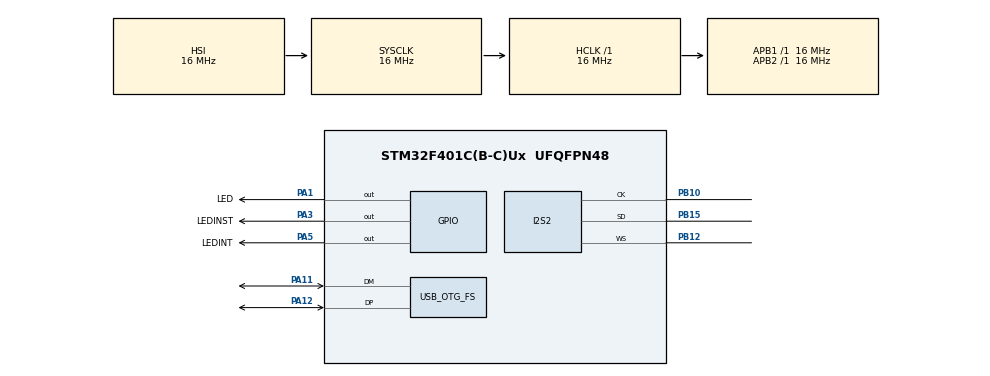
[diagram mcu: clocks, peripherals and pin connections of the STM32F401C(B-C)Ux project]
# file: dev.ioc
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I2S2.AudioFreq=I2S_AUDIOFREQ_16K
I2S2.DataFormat=I2S_DATAFORMAT_24B
I2S2.ErrorAudioFreq=-0.35 %
I2S2.FullDuplexMode=I2S_FULLDUPLEXMODE_DISABLE
I2S2.Instance=SPI$Index
I2S2.Mode=I2S_MODE_MASTER_RX
I2S2.RealAudioFreq=15.943 KHz
I2S2.VirtualMode=I2S_MODE_MASTER
Mcu.Family=STM32F4
Mcu.Name=STM32F401C(B-C)Ux
Mcu.Package=UFQFPN48
NVIC.OTG_FS_IRQn=true\:0\:0\:false\:false\:true\:false\:true\:true
NVIC.PriorityGroup=NVIC_PRIORITYGROUP_4
PA1.GPIO_Label=LED
PA1.Signal=GPIO_Output
PA11.Mode=Device_Only
PA11.Signal=USB_OTG_FS_DM
PA12.Mode=Device_Only
PA12.Signal=USB_OTG_FS_DP
PA3.GPIO_Label=LEDINST
PA3.Signal=GPIO_Output
PA5.GPIO_Label=LEDINT
PA5.Signal=GPIO_Output
PB10.Mode=Half_Duplex_Master
PB10.Signal=I2S2_CK
PB12.Mode=Half_Duplex_Master
PB12.Signal=I2S2_WS
PB15.Mode=Half_Duplex_Master
PB15.Signal=I2S2_SD
PH0\ -\ OSC_IN.Mode=HSE-External-Oscillator
PH0\ -\ OSC_IN.Signal=RCC_OSC_IN
PH1\ -\ OSC_OUT.Mode=HSE-External-Oscillator
PH1\ -\ OSC_OUT.Signal=RCC_OSC_OUT
ProjectManager.HeapSize=0x200
ProjectManager.StackSize=0x400
ProjectManager.TargetToolchain=STM32CubeIDE
RCC.48MHZClocksFreq_Value=48000000
RCC.AHBFreq_Value=16000000
RCC.APB1Freq_Value=16000000
RCC.APB2Freq_Value=16000000
RCC.CortexFreq_Value=16000000
RCC.HSE_VALUE=25000000
RCC.HSI_VALUE=16000000
RCC.LSE_VALUE=32768
RCC.PLLI2SN=60
RCC.PLLM=15
RCC.PLLN=144
RCC.PLLQ=5
RCC.SYSCLKFreq_VALUE=16000000
RCC.VCOOutputFreq_Value=240000000
USB_DEVICE.CLASS_NAME_FS=CDC
USB_DEVICE.VirtualMode=Cdc
USB_DEVICE.VirtualModeFS=Cdc_FS
USB_OTG_FS.VirtualMode=Device_Only
VP_USB_DEVICE_VS_USB_DEVICE_CDC_FS.Mode=CDC_FS
board=custom

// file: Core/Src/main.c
/* USER CODE BEGIN Header */
/**
  ******************************************************************************
  * @file           : main.c
  * @brief          : Main program body
  ******************************************************************************
  * @attention
  *
  * Copyright (c) 2022 STMicroelectronics.
  * All rights reserved.
  *
  * This software is licensed under terms that can be found in the LICENSE file
  * in the root directory of this software component.
  * If no LICENSE file comes with this software, it is provided AS-IS.
  *
  ******************************************************************************
  */
/* USER CODE END Header */
#define __FPU_PRESENT             1U
#define ARM_MATH_CM4
#include "arm_math.h"
#include "main.h"
#include "usb_device.h"

/* USER CODE BEGIN Includes */
#include "usbd_cdc_if.h"
#include "string.h"
#include <math.h>
//#include "arm_math.h"
/* USER CODE END Includes */

/* USER CODE BEGIN PD */
#define interval 0.5 //the time interval per sample
//#define ARM_MATH_CM4
/* USER CODE END PD */

I2S_HandleTypeDef hi2s2;

void SystemClock_Config(void);
static void MX_GPIO_Init(void);
static void MX_I2S2_Init(void);
/* USER CODE BEGIN PFP */
void toStr(uint16_t d, char* str);
void getStr(int32_t d, char* str);
double dailyDose(int32_t p);
/* USER CODE END PFP */

/* USER CODE BEGIN 0 */
uint8_t buffer[64];
uint8_t *data;
/*
	  HAL_GPIO_TogglePin (GPIOA, LED_Pin);
	  while(count){
		  volatile HAL_StatusTypeDef result = HAL_I2S_Receive(&hi2s2, data_in, 2, 100);
		  if (result == HAL_OK) {
			  if(data_in[1]==0||data_in[0]>=16384) continue;
			  current = data_in[0]+(data_in[1]>>7);
			  samples[--count] = current;
		  }
	  }
	  for (int i=0; i<n; i++){
		  davg += samples[i]/n; //average
	  }
	  avg = (int32_t) davg;
	  for (int i=0; i<n; i++){
		  samples[i] -= avg;
		  if(min>samples[i]) min = samples[i];
		  if(max<samples[i]) max = samples[i];
	  }
	  count = n;
	  peak = max-min;
	  max = 0;
	  min = 100000;
	  getStr(peak, s); //2072.43028737 -- 90 dB right shifted by 7
	  davg = 0;
	  data = s;
	  CDC_Transmit_FS(data, strlen(data));
	  HAL_Delay(500);
*/
/* USER CODE END 0 */

int main(void)
{

  /* MCU Configuration--------------------------------------------------------*/

  /* Reset of all peripherals, Initializes the Flash interface and the Systick. */
  HAL_Init();

  /* Configure the system clock */
  SystemClock_Config();

  /* Initialize all configured peripherals */
  MX_GPIO_Init();
  MX_I2S2_Init();
  MX_USB_DEVICE_Init();
  /* USER CODE BEGIN 2 */
  uint16_t data_in[2];
  uint16_t n = 256; //number of samples, keep at power of 2 for FFT
  int32_t current;
  uint16_t count = n;
  int32_t avg = 0; //running average of the sampled data
//  int32_t min_avg = -1; //keeps track of the lowest average so far -- DC offset
  uint8_t s[7]; //store string output
  s[6] = '\0'; //null character to terminate the string -- this should remove any weird artifacts
  float davg=0;
  double dd = 0; //keep track of daily dose
  int reached = 16; //simple counter
  int dd_reached = 0; //keep track of if we've reached dd threshold
  int duration = 0;
  int32_t max_peak;
  int32_t decibel;
  int32_t max = 0;
  int32_t min = 100000;
  int32_t peak = 0;
  int32_t samples[n];

  //arm code below from https://stm32f4-discovery.net/2014/10/stm32f4-fft-example/
//  arm_cfft_radix4_instance_f32 S;	/* ARM CFFT module */
//  float32_t maxValue;				/* Max FFT value is stored here */
//  uint32_t maxIndex;				/* Index in Output array where max value is */
//  float32_t fft_output[n];
//  float32_t fft_input[2*n];
  /* USER CODE END 2 */
  /* Infinite loop */
  /* USER CODE BEGIN WHILE */
  while (1)
  {
	  while(count){
		  volatile HAL_StatusTypeDef result = HAL_I2S_Receive(&hi2s2, data_in, 2, 100);
		  if (result == HAL_OK) {
			  if(data_in[1]==0||data_in[0]>=32768) continue; //need this otherwise data is way too noisy
			  //trying without any checks for zeros or potential negatives
			  current = data_in[0];
			  samples[--count] = current;
		  }
	  }
	  for (int i=0; i<n; i++){
		  davg += samples[i]/n; //average
	  }
	  avg = (int32_t) davg;
	  for (int i=0; i<n; i++){
		  samples[i] -= avg;
		  if(min>samples[i]) min = samples[i];
		  if(max<samples[i]) max = samples[i];
	  }
	  count = n;
	  peak = max-min;
	  max = 0;
	  min = 100000;
	  davg = 0;
	  data = s;
	  dd += dailyDose(peak);
	  if(peak>2072){
		  HAL_GPIO_WritePin(GPIOA, LEDINST_Pin, GPIO_PIN_SET); //If over given value, means >90 dB, set warning
		  duration = 8; //adding minimum duration of 8 cycles
	  }
	  else if(duration<=0) HAL_GPIO_WritePin(GPIOA, LEDINST_Pin, GPIO_PIN_RESET); //duration over -- "loud" noise not detected any longer
	  else duration--; //duration not over but not updated -- decrease duration

	  if(dd>=1&&dd_reached==0){
		  HAL_GPIO_TogglePin(GPIOA, LEDINT_Pin); //If we've reached daily dose
		  dd_reached = 1; //Making sure we don't keep toggling pin
	  }
	  if(peak>max_peak) max_peak = peak;
	  reached--;
	  if(!reached){
//		  for(int i=0; i<2*n; i+=2){ //this code from same arm source as above
//			  fft_input[i] = samples[i]; //real
//			  fft_input[i+1] = 0; //imaginary
//		  }
//		  arm_cfft_radix4_init_f32(&S, n, 0, 1);
//	      arm_cfft_radix4_f32(&S, fft_input);
//	      arm_cmplx_mag_f32(fft_input, fft_output, n);
////	      arm_max_f32(fft_output, n, &maxValue, &maxIndex); //this code computes fft and computes the maximum index and maximum value
//	      maxIndex = 0;
//	      maxValue = fft_output[0];
//	      for(int i=1; i<n; i++){
//	    	  if(fft_output[i]>maxValue){
//	    		  maxValue = fft_output[i];
//	    		  maxIndex = i;
//	    	  }
//	      }

		  HAL_GPIO_TogglePin(GPIOA, LED_Pin);
		  reached = 16;
//		  getStr(max_peak, s); //2072.43028737 -- around 70-80 dB right shifted by 7
//		  CDC_Transmit_FS(data, strlen(data));
		  decibel = (int)(10.0*(log(max_peak/2072.0)/log(2.0)))+70; //if peak is too low, maybe modify it by downshifting more/applying a function to account for noise
		  if(decibel<0) decibel = 0; //negative decibel values both don't make sense and make weird USB outputs
		  getStr(decibel, s);
		  max_peak = 0; //reset max peak
		  data = s;
		  HAL_Delay(50); //allow the USB transfer to reset, code similar to this did weird stuff without it
		  CDC_Transmit_FS(data, strlen(data));
//		  getStr((int32_t) maxIndex, s);
//		  data = s;
//		  HAL_Delay(50); //allow the USB transfer to reset, code similar to this did weird stuff without it
//		  CDC_Transmit_FS(data, strlen(data));
	  }
  }
    /* USER CODE END WHILE */

}

void SystemClock_Config(void)
{
  RCC_OscInitTypeDef RCC_OscInitStruct = {0};
  RCC_ClkInitTypeDef RCC_ClkInitStruct = {0};

  /** Configure the main internal regulator output voltage
  */
  __HAL_RCC_PWR_CLK_ENABLE();
  __HAL_PWR_VOLTAGESCALING_CONFIG(PWR_REGULATOR_VOLTAGE_SCALE2);

  /** Initializes the RCC Oscillators according to the specified parameters
  * in the RCC_OscInitTypeDef structure.
  */
  RCC_OscInitStruct.OscillatorType = RCC_OSCILLATORTYPE_HSI|RCC_OSCILLATORTYPE_HSE;
  RCC_OscInitStruct.HSEState = RCC_HSE_ON;
  RCC_OscInitStruct.HSIState = RCC_HSI_ON;
  RCC_OscInitStruct.HSICalibrationValue = RCC_HSICALIBRATION_DEFAULT;
  RCC_OscInitStruct.PLL.PLLState = RCC_PLL_ON;
  RCC_OscInitStruct.PLL.PLLSource = RCC_PLLSOURCE_HSE;
  RCC_OscInitStruct.PLL.PLLM = 15;
  RCC_OscInitStruct.PLL.PLLN = 144;
  RCC_OscInitStruct.PLL.PLLP = RCC_PLLP_DIV2;
  RCC_OscInitStruct.PLL.PLLQ = 5;
  if (HAL_RCC_OscConfig(&RCC_OscInitStruct) != HAL_OK)
  {
    Error_Handler();
  }

  /** Initializes the CPU, AHB and APB buses clocks
  */
  RCC_ClkInitStruct.ClockType = RCC_CLOCKTYPE_HCLK|RCC_CLOCKTYPE_SYSCLK
                              |RCC_CLOCKTYPE_PCLK1|RCC_CLOCKTYPE_PCLK2;
  RCC_ClkInitStruct.SYSCLKSource = RCC_SYSCLKSOURCE_HSI;
  RCC_ClkInitStruct.AHBCLKDivider = RCC_SYSCLK_DIV1;
  RCC_ClkInitStruct.APB1CLKDivider = RCC_HCLK_DIV1;
  RCC_ClkInitStruct.APB2CLKDivider = RCC_HCLK_DIV1;

  if (HAL_RCC_ClockConfig(&RCC_ClkInitStruct, FLASH_LATENCY_0) != HAL_OK)
  {
    Error_Handler();
  }
}

static void MX_I2S2_Init(void)
{

  hi2s2.Instance = SPI2;
  hi2s2.Init.Mode = I2S_MODE_MASTER_RX;
  hi2s2.Init.Standard = I2S_STANDARD_PHILIPS;
  hi2s2.Init.DataFormat = I2S_DATAFORMAT_24B;
  hi2s2.Init.MCLKOutput = I2S_MCLKOUTPUT_DISABLE;
  hi2s2.Init.AudioFreq = I2S_AUDIOFREQ_16K;
  hi2s2.Init.CPOL = I2S_CPOL_LOW;
  hi2s2.Init.ClockSource = I2S_CLOCK_PLL;
  hi2s2.Init.FullDuplexMode = I2S_FULLDUPLEXMODE_DISABLE;
  if (HAL_I2S_Init(&hi2s2) != HAL_OK)
  {
    Error_Handler();
  }

}

static void MX_GPIO_Init(void)
{
  GPIO_InitTypeDef GPIO_InitStruct = {0};

  /* GPIO Ports Clock Enable */
  __HAL_RCC_GPIOH_CLK_ENABLE();
  __HAL_RCC_GPIOA_CLK_ENABLE();
  __HAL_RCC_GPIOB_CLK_ENABLE();

  /*Configure GPIO pin Output Level */
  HAL_GPIO_WritePin(GPIOA, LED_Pin|LEDINST_Pin|LEDINT_Pin, GPIO_PIN_RESET);

  /*Configure GPIO pins : LED_Pin LEDINST_Pin LEDINT_Pin */
  GPIO_InitStruct.Pin = LED_Pin|LEDINST_Pin|LEDINT_Pin;
  GPIO_InitStruct.Mode = GPIO_MODE_OUTPUT_PP;
  GPIO_InitStruct.Pull = GPIO_NOPULL;
  GPIO_InitStruct.Speed = GPIO_SPEED_FREQ_LOW;
  HAL_GPIO_Init(GPIOA, &GPIO_InitStruct);

}

/* USER CODE BEGIN 4 */
void toStr(uint16_t d, char* str){ //converting int16_t to decimal -- assuming positive, which isn't always true
	str[4]=d%10+'0';
	d/=10;
	str[3]=d%10+'0';
	d/=10;
	str[2]=d%10+'0';
	d/=10;
	str[1]=d%10+'0';
	d/=10;
	str[0]=d%10+'0';
}

void getStr(int32_t d, char* str){ //assume str's length is at least 10
	uint8_t count = 5;
	while(count){
		str[--count] = d%10+'0'; //there's an easier way to do this, but don't want to waste memory
		d/=10;
	}
	str[5] = ',';
}

double dailyDose(int32_t p){ //adapted from my python code
	double arg = (double) (p)/ 2072; //Using current definition of 90 dB, may change later -- make into a macro
	arg = 10*log(p)/log(10); // to compute dB version of p using 90 dB as a reference
	arg = pow(2, -arg/5);
	double t = 8*60*60*arg; //defining the resulting exposure time period
	return interval/t; //finally, return how much this exposure contributed to the daily dose based on
}
/* USER CODE END 4 */

void Error_Handler(void)
{
  __disable_irq();
  while (1)
  {
  }
}
